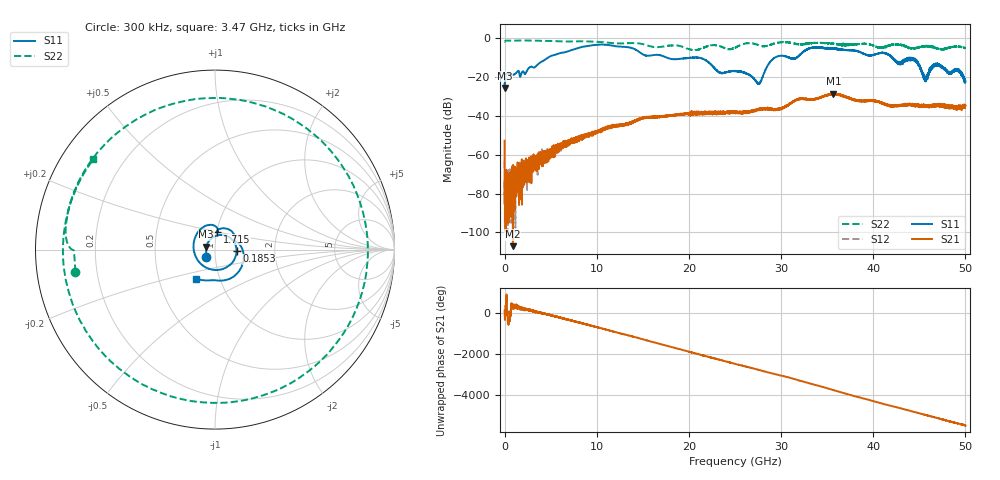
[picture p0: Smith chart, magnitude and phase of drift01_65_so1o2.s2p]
!Created with skrf (http://scikit-rf.org).
# Hz S RI R 50.0
!freq ReS11 ImS11 ReS21 ImS21 ReS12 ImS12 ReS22 ImS22
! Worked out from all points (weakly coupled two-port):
!   10001 points, 300 kHz to 50 GHz, reference 50 ohm
!   highest |S21| = -28.70 dB at 35.69 GHz (marker M1); lowest = -107.1 dB at 900.3 MHz (marker M2)
!   lowest |S11| = -25.8 dB at 5.3 MHz (marker M3), VSWR 1.11, Z = 45.3 + j1.44 ohm
!   |S11| at or under -10 dB: start of sweep to 4.767 GHz; 17.52 GHz to 29.38 GHz (11.87 GHz wide, 50.6 % of centre); 42.05 GHz to end of sweep (the widest 3 of 10)
!   |S22| runs from -6.4 to -1.4 dB; largest |S21 - S12| = 0.0032
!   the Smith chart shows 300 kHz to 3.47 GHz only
!   S11 on the Smith chart (normalised r, x): 300 kHz: 0.90, -0.08; 185.3 MHz: 1.27, -0.02; 1.715 GHz: 1.00, +0.20; 3.47 GHz: 0.77, -0.26
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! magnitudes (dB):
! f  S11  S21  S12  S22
! 300 kHz  -23.8  -52.9  -63.3  -2.1
! 5.3 MHz  -25.8  -72.8  -74.7  -2.1
! 185.3 MHz  -18.4  -74.0  -84.2  -1.4
! 260.3 MHz  -18.3  -95.1  -73.0  -1.4
! 900.3 MHz  -19.0  -107.1  -73.9  -1.5
! 1.715 GHz  -19.9  -69.4  -69.9  -1.4
! 3.47 GHz  -14.3  -65.3  -64.8  -1.5
! 8.335 GHz  -4.8  -50.9  -51.2  -1.8
! 16.67 GHz  -8.7  -40.6  -40.8  -4.8
! 25 GHz  -16.9  -38.6  -38.6  -5.1
! 27.59 GHz  -23.3  -36.4  -36.9  -3.8
! 29.28 GHz  -10.3  -36.9  -36.7  -2.9
! 31.47 GHz  -10.7  -32.5  -32.4  -2.9
! 33.34 GHz  -5.1  -31.7  -31.5  -2.7
! 35.69 GHz  -5.3  -28.7  -29.0  -3.0
! 41.67 GHz  -8.6  -34.6  -34.8  -4.0
! 42.8 GHz  -12.9  -35.2  -34.6  -3.5
! 44.49 GHz  -11.3  -34.7  -34.2  -5.3
! 45.63 GHz  -21.5  -35.6  -35.1  -4.2
! 46.96 GHz  -13.1  -34.8  -34.2  -5.5
! 49.2 GHz  -17.1  -35.3  -36.5  -4.4
! 50 GHz  -22.4  -34.6  -34.8  -5.3
